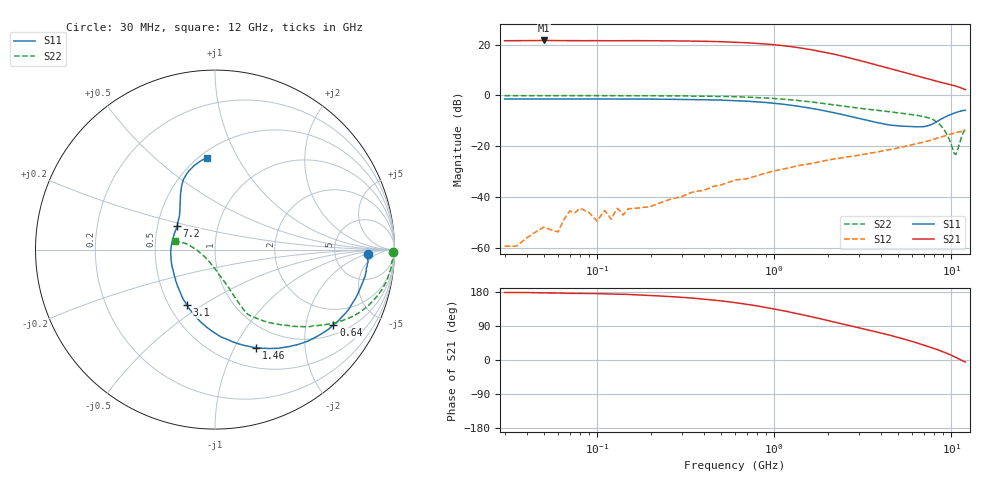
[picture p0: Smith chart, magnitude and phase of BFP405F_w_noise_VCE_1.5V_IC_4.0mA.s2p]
! Infineon Technologies  Discrete & RF Semiconductors
! BFP405F
! VCE =  1.5 V,  IC =  4.0 mA
! Common Emitter S-Parameters:  Nov 2015
# GHz  S  MA  R  50
!  f  S11  S21  S12  S22
! GHz  MAG  ANG  MAG  ANG  MAG  ANG  MAG  ANG
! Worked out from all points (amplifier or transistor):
!   239 points, 30 MHz to 12 GHz, reference 50 ohm
!   highest |S21| = 21.6 dB at 50 MHz (marker M1)
!   |S21| within 3 dB of that: start of sweep to 1.423 GHz
!   unconditionally stable (mu >= 1): start of sweep to 31.12 MHz; 3.109 GHz to end of sweep
!   at 300 MHz: K = 0.11, MSG = 30.5 dB, |S12| = -39.7 dB
!   at 1.88 GHz: K = 0.61, MSG = 21.4 dB, |S12| = -25.8 dB
!   at 12 GHz: K = 1.50, MAG = 3.9 dB, |S12| = -13.9 dB
!   lowest NFmin = 1.20 dB at 450 MHz
!   S11 on the Smith chart (normalised r, x): 30 MHz: 12, -2; 640 MHz: 1.32, -2.88; 1.46 GHz: 0.73, -1.23; 3.1 GHz: 0.61, -0.43; 7.2 GHz: 0.63, +0.18; 12 GHz: 0.54, +0.75
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0.03  0.8523 -1.5  11.86 178.2  0.0011 3.9  0.9898 -0.8
0.05  0.8529 -2.7  12.01 177.1  0.0026 84.7  0.9939 -1.4
0.06  0.8476 -3.1  11.89 176.8  0.0021 77.9  0.991 -1.4
0.07  0.8526 -3.7  11.93 175.9  0.0054 65.8  0.9914 -1.8
0.085  0.8552 -4.5  11.88 175.6  0.0055 118.5  0.9936 -2.1
0.1  0.8532 -5.1  11.87 175.1  0.0034 87.6  0.9909 -2.7
0.145  0.8505 -7.7  11.9 173.3  0.0052 88.8  0.9886 -3.8
0.24  0.8429 -12.6  11.8 168.3  0.0084 87.7  0.985 -6.3
0.4  0.8238 -20.7  11.58 160.6  0.0137 83.2  0.9719 -10.5
0.6  0.7912 -30.6  11.09 151.4  0.0218 77.3  0.944 -15.4
0.64  0.7827 -32.5  10.99 149.7  0.0224 76.1  0.9372 -16.3
1  0.7021 -48.9  9.895 134.6  0.0331 69.7  0.8707 -24.2
1.2  0.6536 -57.2  9.244 127.3  0.0377 65.4  0.8293 -27.7
1.46  0.5928 -67.1  8.384 118.9  0.0434 61.9  0.7773 -31.8
1.64  0.5545 -73.6  7.836 113.6  0.0469 60.8  0.7428 -34.2
2.28  0.4417 -94.8  6.209 98.0  0.0577 55.1  0.6397 -42.1
3.1  0.3461 -117.1  4.764 83.4  0.0686 51.2  0.5551 -48.9
4.5  0.2644 -151.1  3.366 65.3  0.0868 48.0  0.4792 -55.9
7.2  0.2485 148.1  2.156 37.3  0.1254 41.0  0.374 -64.4
9  0.3629 122.0  1.763 21.3  0.1575 34.6  0.224 -70.4
10.6  0.4617 108.4  1.526 6.7  0.1868 26.0  0.0696 -143.8
12  0.5114 95.3  1.299 -5.2  0.2029 19.1  0.2284 168.4
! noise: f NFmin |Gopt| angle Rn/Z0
0.45  1.2  0.44  5  0.35
0.9  1.21  0.41  13  0.38
1.5  1.29  0.38  19  0.33
1.9  1.32  0.36  25  0.33
2.4  1.49  0.34  35  0.35
3  1.56  0.32  46  0.32
3.5  1.61  0.31  55  0.29
4.5  1.77  0.24  70  0.26
5.5  2  0.15  83  0.16
